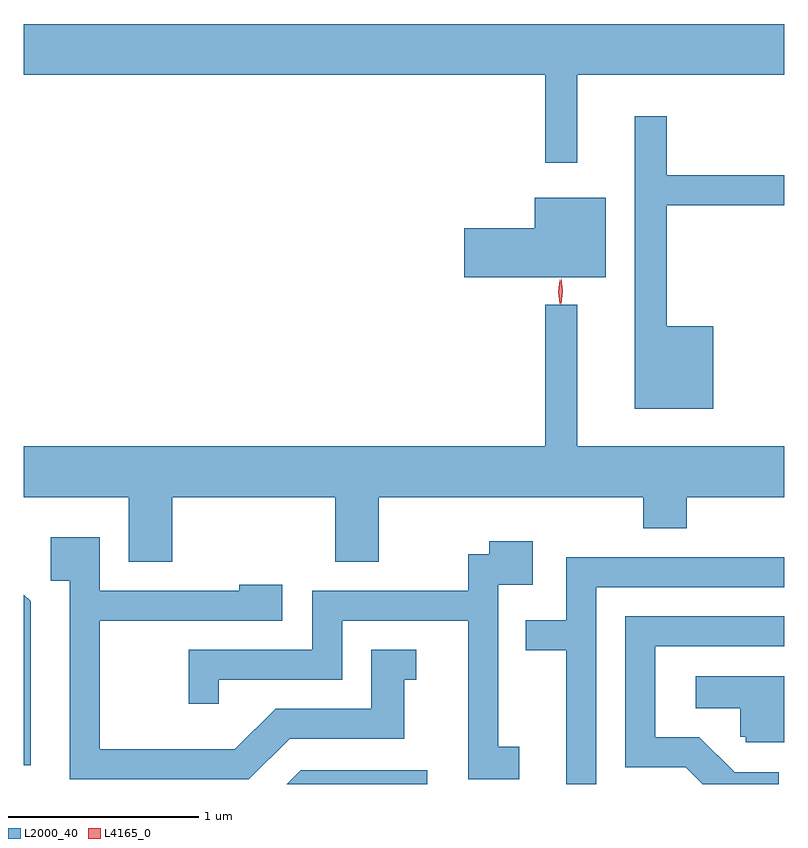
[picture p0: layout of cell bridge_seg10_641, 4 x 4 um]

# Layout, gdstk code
import gdstk
lib = gdstk.Library(unit=1e-6, precision=1e-09)
def P(c, l, *ps):  # polygons
    for p in ps: c.add(gdstk.Polygon(p, *l))
L2000_40 = (2000, 40)
L4165_0 = (4165, 0)

bridge_seg10_641 = lib.new_cell('bridge_seg10_641')
P(bridge_seg10_641, L2000_40, [(912.969,2125.016),(914.058,2125.016),(914.058,2125.284),(910.058,2125.284),(910.058,2125.016),(912.801,2125.016),(912.801,2124.553),(912.969,2124.553)],
  [(913.684,2123.694),(913.439,2123.694),(913.439,2124.331),(914.058,2124.331),(914.058,2124.489),(913.439,2124.489),(913.439,2124.798),(913.271,2124.798),(913.271,2123.261),(913.684,2123.261)],
  [(913.119,2124.369),(912.746,2124.369),(912.746,2124.209),(912.376,2124.209),(912.376,2123.951),(913.119,2123.951)],
  [(910.839,2122.796),(911.696,2122.796),(911.696,2122.456),(911.924,2122.456),(911.924,2122.796),(913.316,2122.796),(913.316,2122.631),(913.544,2122.631),(913.544,2122.796),(914.058,2122.796),(914.058,2123.064),(912.969,2123.064),(912.969,2123.808),(912.801,2123.808),(912.801,2123.064),(910.058,2123.064),(910.058,2122.796),(910.611,2122.796),(910.611,2122.456),(910.839,2122.456)],
  [(911.457,2121.526),(912.059,2121.526),(912.059,2121.836),(912.123,2121.836),(912.123,2121.994),(911.886,2121.994),(911.886,2121.684),(911.384,2121.684),(911.169,2121.469),(910.459,2121.469),(910.459,2122.146),(911.419,2122.146),(911.419,2122.334),(911.191,2122.334),(911.191,2122.304),(910.459,2122.304),(910.459,2122.584),(910.201,2122.584),(910.201,2122.356),(910.301,2122.356),(910.301,2121.311),(911.242,2121.311)],
  [(912.664,2121.484),(912.554,2121.484),(912.554,2122.336),(912.734,2122.336),(912.734,2122.564),(912.506,2122.564),(912.506,2122.494),(912.396,2122.494),(912.396,2122.304),(911.576,2122.304),(911.576,2121.994),(910.926,2121.994),(910.926,2121.708),(911.084,2121.708),(911.084,2121.836),(911.734,2121.836),(911.734,2122.146),(912.396,2122.146),(912.396,2121.311),(912.664,2121.311)],
  [(913.069,2122.321),(914.058,2122.321),(914.058,2122.479),(912.911,2122.479),(912.911,2122.149),(912.698,2122.149),(912.698,2121.991),(912.911,2121.991),(912.911,2121.287),(913.069,2121.287)],
  [(910.094,2122.247),(910.058,2122.283),(910.058,2121.386),(910.094,2121.386)],
  [(914.028,2121.349),(913.797,2121.349),(913.612,2121.534),(913.379,2121.534),(913.379,2122.011),(914.058,2122.011),(914.058,2122.169),(913.221,2122.169),(913.221,2121.376),(913.539,2121.376),(913.628,2121.287),(914.028,2121.287)],
  [(914.058,2121.854),(913.593,2121.854),(913.593,2121.686),(913.826,2121.686),(913.826,2121.536),(913.856,2121.536),(913.856,2121.506),(914.058,2121.506)],
  [(912.179,2121.359),(911.514,2121.359),(911.442,2121.287),(912.179,2121.287)])
P(bridge_seg10_641, L4165_0, [(912.879,2123.813),(912.878,2123.814),(912.868,2123.876),(912.878,2123.939),(912.878,2123.94),(912.878,2123.939),(912.888,2123.876),(912.879,2123.814)],
  [(912.884,2123.81),(912.875,2123.878),(912.884,2123.946),(912.884,2123.946),(912.885,2123.946),(912.894,2123.878),(912.885,2123.81),(912.885,2123.81)])

lib.write_gds('bridge_seg10_641.gds')
